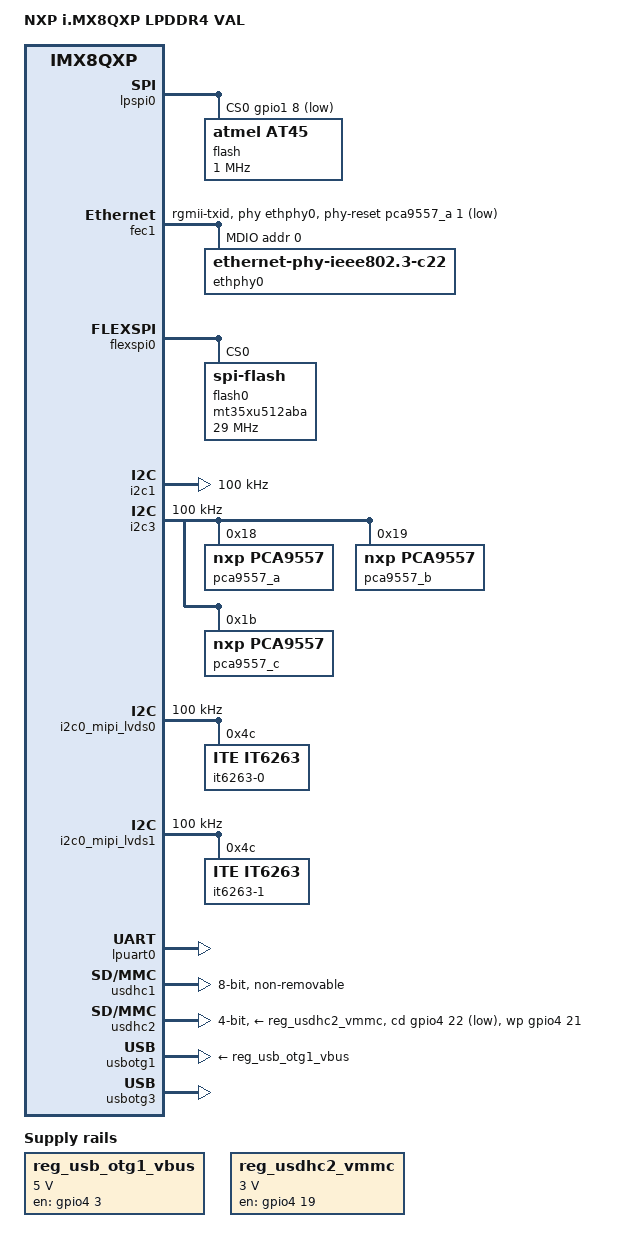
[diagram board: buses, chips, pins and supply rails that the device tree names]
// SPDX-License-Identifier: GPL-2.0+
/*
 * Copyright 2017-2019 NXP
 */

/dts-v1/;

#include "fsl-imx8qxp.dtsi"

/ {
	model = "NXP i.MX8QXP LPDDR4 VAL";
	compatible = "fsl,imx8qxp-lpddr4-val", "fsl,imx8qxp";

	aliases {
		gpio8 = &pca9557_a;
		gpio9 = &pca9557_b;
		gpio10 = &pca9557_c;
	};

	chosen {
		bootargs = "console=ttyLP0,115200 earlycon";
		stdout-path = &lpuart0;
	};

	regulators {
		compatible = "simple-bus";
		#address-cells = <1>;
		#size-cells = <0>;

		reg_usb_otg1_vbus: regulator@0 {
			compatible = "regulator-fixed";
			reg = <0>;
			regulator-name = "usb_otg1_vbus";
			regulator-min-microvolt = <5000000>;
			regulator-max-microvolt = <5000000>;
			gpio = <&gpio4 3 GPIO_ACTIVE_HIGH>;
			enable-active-high;
		};

		reg_usdhc2_vmmc: usdhc2_vmmc {
			compatible = "regulator-fixed";
			regulator-name = "SD1_SPWR";
			regulator-min-microvolt = <3000000>;
			regulator-max-microvolt = <3000000>;
			gpio = <&gpio4 19 GPIO_ACTIVE_HIGH>;
			enable-active-high;
			startup-delay-us = <300>;
			off-on-delay-us = <5000>;
		};
	};
};

&iomuxc {
	pinctrl-names = "default";
	pinctrl-0 = <&pinctrl_hog_1>;

	imx8qxp-val {
		pinctrl_hog_1: hoggrp-1 {
			fsl,pins = <
				SC_P_USB_SS3_TC0_LSIO_GPIO4_IO03	0x06000048
				SC_P_COMP_CTL_GPIO_1V8_3V3_GPIORHB_PAD	0x000514a0
			>;
		};

		pinctrl_fec1: fec1grp {
			fsl,pins = <
				SC_P_COMP_CTL_GPIO_1V8_3V3_ENET_ENETB0_PAD	0x000014a0
				SC_P_COMP_CTL_GPIO_1V8_3V3_ENET_ENETB1_PAD	0x000014a0
				SC_P_ENET0_MDC_CONN_ENET0_MDC			0x06000020
				SC_P_ENET0_MDIO_CONN_ENET0_MDIO			0x06000020
				SC_P_ENET0_RGMII_TX_CTL_CONN_ENET0_RGMII_TX_CTL	0x00000060
				SC_P_ENET0_RGMII_TXC_CONN_ENET0_RGMII_TXC	0x00000060
				SC_P_ENET0_RGMII_TXD0_CONN_ENET0_RGMII_TXD0	0x00000060
				SC_P_ENET0_RGMII_TXD1_CONN_ENET0_RGMII_TXD1	0x00000060
				SC_P_ENET0_RGMII_TXD2_CONN_ENET0_RGMII_TXD2	0x00000060
				SC_P_ENET0_RGMII_TXD3_CONN_ENET0_RGMII_TXD3	0x00000060
				SC_P_ENET0_RGMII_RXC_CONN_ENET0_RGMII_RXC	0x00000060
				SC_P_ENET0_RGMII_RX_CTL_CONN_ENET0_RGMII_RX_CTL	0x00000060
				SC_P_ENET0_RGMII_RXD0_CONN_ENET0_RGMII_RXD0	0x00000060
				SC_P_ENET0_RGMII_RXD1_CONN_ENET0_RGMII_RXD1	0x00000060
				SC_P_ENET0_RGMII_RXD2_CONN_ENET0_RGMII_RXD2	0x00000060
				SC_P_ENET0_RGMII_RXD3_CONN_ENET0_RGMII_RXD3	0x00000060
			>;
		};

		pinctrl_fec2: fec2grp {
			fsl,pins = <
				SC_P_ESAI0_SCKR_CONN_ENET1_RGMII_TX_CTL		0x00000060
				SC_P_ESAI0_FSR_CONN_ENET1_RGMII_TXC		0x00000060
				SC_P_ESAI0_TX4_RX1_CONN_ENET1_RGMII_TXD0	0x00000060
				SC_P_ESAI0_TX5_RX0_CONN_ENET1_RGMII_TXD1	0x00000060
				SC_P_ESAI0_FST_CONN_ENET1_RGMII_TXD2		0x00000060
				SC_P_ESAI0_SCKT_CONN_ENET1_RGMII_TXD3		0x00000060
				SC_P_ESAI0_TX0_CONN_ENET1_RGMII_RXC		0x00000060
				SC_P_SPDIF0_TX_CONN_ENET1_RGMII_RX_CTL		0x00000060
				SC_P_SPDIF0_RX_CONN_ENET1_RGMII_RXD0		0x00000060
				SC_P_ESAI0_TX3_RX2_CONN_ENET1_RGMII_RXD1	0x00000060
				SC_P_ESAI0_TX2_RX3_CONN_ENET1_RGMII_RXD2	0x00000060
				SC_P_ESAI0_TX1_CONN_ENET1_RGMII_RXD3		0x00000060
			>;
		};

		pinctrl_lpi2c1: lpi1cgrp {
			fsl,pins = <
				SC_P_USB_SS3_TC1_ADMA_I2C1_SCL	0x06000021
				SC_P_USB_SS3_TC3_ADMA_I2C1_SDA	0x06000021
			>;
		};

		pinctrl_lpi2c3: lpi2cgrp {
			fsl,pins = <
				SC_P_SPI3_CS1_ADMA_I2C3_SCL	0x06000020
				SC_P_MCLK_IN1_ADMA_I2C3_SDA	0x06000020
			>;
		};

		pinctrl_lpuart0: lpuart0grp {
			fsl,pins = <
				SC_P_UART0_RX_ADMA_UART0_RX	0x0600002c
				SC_P_UART0_TX_ADMA_UART0_TX	0x0600002c
			>;
		};

		pinctrl_lpspi0: lpspi0grp {
			fsl,pins = <
				SC_P_SPI0_SCK_ADMA_SPI0_SCK		0x600004c
				SC_P_SPI0_SDO_ADMA_SPI0_SDO		0x600004c
				SC_P_SPI0_SDI_ADMA_SPI0_SDI		0x600004c
			>;
		};

		pinctrl_lpspi0_cs: lpspi0cs {
			fsl,pins = <
				SC_P_SPI0_CS0_LSIO_GPIO1_IO08		0x21
			>;
		};

		pinctrl_usdhc1: usdhc1grp {
			fsl,pins = <
				SC_P_EMMC0_CLK_CONN_EMMC0_CLK		0x06000041
				SC_P_EMMC0_CMD_CONN_EMMC0_CMD		0x00000021
				SC_P_EMMC0_DATA0_CONN_EMMC0_DATA0	0x00000021
				SC_P_EMMC0_DATA1_CONN_EMMC0_DATA1	0x00000021
				SC_P_EMMC0_DATA2_CONN_EMMC0_DATA2	0x00000021
				SC_P_EMMC0_DATA3_CONN_EMMC0_DATA3	0x00000021
				SC_P_EMMC0_DATA4_CONN_EMMC0_DATA4	0x00000021
				SC_P_EMMC0_DATA5_CONN_EMMC0_DATA5	0x00000021
				SC_P_EMMC0_DATA6_CONN_EMMC0_DATA6	0x00000021
				SC_P_EMMC0_DATA7_CONN_EMMC0_DATA7	0x00000021
				SC_P_EMMC0_STROBE_CONN_EMMC0_STROBE	0x00000041
				SC_P_EMMC0_RESET_B_CONN_EMMC0_RESET_B	0x00000021
			>;
		};

		pinctrl_usdhc1_100mhz: usdhc1grp100mhz {
			fsl,pins = <
				SC_P_EMMC0_CLK_CONN_EMMC0_CLK		0x06000040
				SC_P_EMMC0_CMD_CONN_EMMC0_CMD		0x00000020
				SC_P_EMMC0_DATA0_CONN_EMMC0_DATA0	0x00000020
				SC_P_EMMC0_DATA1_CONN_EMMC0_DATA1	0x00000020
				SC_P_EMMC0_DATA2_CONN_EMMC0_DATA2	0x00000020
				SC_P_EMMC0_DATA3_CONN_EMMC0_DATA3	0x00000020
				SC_P_EMMC0_DATA4_CONN_EMMC0_DATA4	0x00000020
				SC_P_EMMC0_DATA5_CONN_EMMC0_DATA5	0x00000020
				SC_P_EMMC0_DATA6_CONN_EMMC0_DATA6	0x00000020
				SC_P_EMMC0_DATA7_CONN_EMMC0_DATA7	0x00000020
				SC_P_EMMC0_STROBE_CONN_EMMC0_STROBE	0x00000040
				SC_P_EMMC0_RESET_B_CONN_EMMC0_RESET_B	0x00000020
			>;
		};

		pinctrl_usdhc1_200mhz: usdhc1grp200mhz {
			fsl,pins = <
				SC_P_EMMC0_CLK_CONN_EMMC0_CLK		0x06000040
				SC_P_EMMC0_CMD_CONN_EMMC0_CMD		0x00000020
				SC_P_EMMC0_DATA0_CONN_EMMC0_DATA0	0x00000020
				SC_P_EMMC0_DATA1_CONN_EMMC0_DATA1	0x00000020
				SC_P_EMMC0_DATA2_CONN_EMMC0_DATA2	0x00000020
				SC_P_EMMC0_DATA3_CONN_EMMC0_DATA3	0x00000020
				SC_P_EMMC0_DATA4_CONN_EMMC0_DATA4	0x00000020
				SC_P_EMMC0_DATA5_CONN_EMMC0_DATA5	0x00000020
				SC_P_EMMC0_DATA6_CONN_EMMC0_DATA6	0x00000020
				SC_P_EMMC0_DATA7_CONN_EMMC0_DATA7	0x00000020
				SC_P_EMMC0_STROBE_CONN_EMMC0_STROBE	0x00000040
				SC_P_EMMC0_RESET_B_CONN_EMMC0_RESET_B	0x00000020
			>;
		};

		pinctrl_usdhc2_gpio: usdhc2gpiogrp {
			fsl,pins = <
				SC_P_USDHC1_RESET_B_LSIO_GPIO4_IO19	0x00000021
				SC_P_USDHC1_WP_LSIO_GPIO4_IO21		0x00000021
				SC_P_USDHC1_CD_B_LSIO_GPIO4_IO22	0x00000021
			>;
		};

		pinctrl_usdhc2: usdhc2grp {
			fsl,pins = <
				SC_P_USDHC1_CLK_CONN_USDHC1_CLK		0x06000041
				SC_P_USDHC1_CMD_CONN_USDHC1_CMD		0x00000021
				SC_P_USDHC1_DATA0_CONN_USDHC1_DATA0	0x00000021
				SC_P_USDHC1_DATA1_CONN_USDHC1_DATA1	0x00000021
				SC_P_USDHC1_DATA2_CONN_USDHC1_DATA2	0x00000021
				SC_P_USDHC1_DATA3_CONN_USDHC1_DATA3	0x00000021
				SC_P_USDHC1_VSELECT_CONN_USDHC1_VSELECT	0x00000021
			>;
		};

		pinctrl_usdhc2_100mhz: usdhc2grp100mhz {
			fsl,pins = <
				SC_P_USDHC1_CLK_CONN_USDHC1_CLK		0x06000040
				SC_P_USDHC1_CMD_CONN_USDHC1_CMD		0x00000020
				SC_P_USDHC1_DATA0_CONN_USDHC1_DATA0	0x00000020
				SC_P_USDHC1_DATA1_CONN_USDHC1_DATA1	0x00000020
				SC_P_USDHC1_DATA2_CONN_USDHC1_DATA2	0x00000020
				SC_P_USDHC1_DATA3_CONN_USDHC1_DATA3	0x00000020
				SC_P_USDHC1_VSELECT_CONN_USDHC1_VSELECT	0x00000020
			>;
		};

		pinctrl_usdhc2_200mhz: usdhc2grp200mhz {
			fsl,pins = <
				SC_P_USDHC1_CLK_CONN_USDHC1_CLK		0x06000040
				SC_P_USDHC1_CMD_CONN_USDHC1_CMD		0x00000020
				SC_P_USDHC1_DATA0_CONN_USDHC1_DATA0	0x00000020
				SC_P_USDHC1_DATA1_CONN_USDHC1_DATA1	0x00000020
				SC_P_USDHC1_DATA2_CONN_USDHC1_DATA2	0x00000020
				SC_P_USDHC1_DATA3_CONN_USDHC1_DATA3	0x00000020
				SC_P_USDHC1_VSELECT_CONN_USDHC1_VSELECT	0x00000020
			>;
		};

		pinctrl_flexspi0: flexspi0grp {
			fsl,pins = <
				SC_P_QSPI0A_DATA0_LSIO_QSPI0A_DATA0	0x06000021
				SC_P_QSPI0A_DATA1_LSIO_QSPI0A_DATA1	0x06000021
				SC_P_QSPI0A_DATA2_LSIO_QSPI0A_DATA2	0x06000021
				SC_P_QSPI0A_DATA3_LSIO_QSPI0A_DATA3	0x06000021
				SC_P_QSPI0A_DQS_LSIO_QSPI0A_DQS		0x06000021
				SC_P_QSPI0A_SS0_B_LSIO_QSPI0A_SS0_B	0x06000021
				SC_P_QSPI0A_SS1_B_LSIO_QSPI0A_SS1_B	0x06000021
				SC_P_QSPI0A_SCLK_LSIO_QSPI0A_SCLK	0x06000021
				SC_P_QSPI0B_SCLK_LSIO_QSPI0B_SCLK	0x06000021
				SC_P_QSPI0B_DATA0_LSIO_QSPI0B_DATA0	0x06000021
				SC_P_QSPI0B_DATA1_LSIO_QSPI0B_DATA1	0x06000021
				SC_P_QSPI0B_DATA2_LSIO_QSPI0B_DATA2	0x06000021
				SC_P_QSPI0B_DATA3_LSIO_QSPI0B_DATA3	0x06000021
				SC_P_QSPI0B_DQS_LSIO_QSPI0B_DQS		0x06000021
				SC_P_QSPI0B_SS0_B_LSIO_QSPI0B_SS0_B	0x06000021
				SC_P_QSPI0B_SS1_B_LSIO_QSPI0B_SS1_B	0x06000021
			>;
		};

		pinctrl_i2c0_mipi_lvds0: mipi_lvds0_i2c0_grp {
			fsl,pins = <
				SC_P_MIPI_DSI0_I2C0_SCL_MIPI_DSI0_I2C0_SCL 0xc6000020
				SC_P_MIPI_DSI0_I2C0_SDA_MIPI_DSI0_I2C0_SDA 0xc6000020
			>;
		};

		pinctrl_i2c0_mipi_lvds1: mipi_lvds1_i2c0_grp {
			fsl,pins = <
				SC_P_MIPI_DSI1_I2C0_SCL_MIPI_DSI1_I2C0_SCL 0xc6000020
				SC_P_MIPI_DSI1_I2C0_SDA_MIPI_DSI1_I2C0_SDA 0xc6000020
			>;
		};
	};
};

&gpio0 {
	status = "okay";
};

&gpio1 {
	status = "okay";
};

&gpio3 {
	status = "okay";
};

&gpio4 {
	status = "okay";
};

&lpspi0 {
	#address-cells = <1>;
	#size-cells = <0>;
	pinctrl-names = "default";
	pinctrl-0 = <&pinctrl_lpspi0 &pinctrl_lpspi0_cs>;
	cs-gpios = <&gpio1 8 GPIO_ACTIVE_LOW>, <0>, <0>, <0>;
	spi-max-frequency = <1000000>;
	status = "okay";

	flash: at45db041e@0 {
		#address-cells = <1>;
		#size-cells = <1>;
		compatible = "atmel,at45", "atmel,dataflash";
		spi-max-frequency = <1000000>;
		reg = <0>;
	};
};


&fec1 {
	pinctrl-names = "default";
	pinctrl-0 = <&pinctrl_fec1>;
	phy-mode = "rgmii-txid";
	phy-handle = <&ethphy0>;
	fsl,magic-packet;
	fsl,rgmii_rxc_dly;
	status = "okay";
	phy-reset-gpios = <&pca9557_a 1 GPIO_ACTIVE_LOW>;
	phy-reset-duration = <10>;
	phy-reset-post-delay = <150>;

	mdio {
		#address-cells = <1>;
		#size-cells = <0>;

		ethphy0: ethernet-phy@0 {
			compatible = "ethernet-phy-ieee802.3-c22";
			reg = <0>;
			at803x,eee-disabled;
			at803x,vddio-1p8v;
		};

		ethphy1: ethernet-phy@1 {
			compatible = "ethernet-phy-ieee802.3-c22";
			reg = <1>;
			at803x,eee-disabled;
			at803x,vddio-1p8v;
			status = "disabled";
		};
	};
};

&fec2 {
	pinctrl-names = "default";
	pinctrl-0 = <&pinctrl_fec2>;
	phy-mode = "rgmii-txid";
	phy-handle = <&ethphy1>;
	fsl,magic-packet;
	fsl,rgmii_rxc_dly;
	status = "disabled";
	phy-reset-gpios = <&pca9557_a 4 GPIO_ACTIVE_LOW>;
	phy-reset-duration = <10>;
	phy-reset-post-delay = <150>;
};

&flexspi0 {
	pinctrl-names = "default";
	pinctrl-0 = <&pinctrl_flexspi0>;
	status = "okay";

	flash0: mt35xu512aba@0 {
		reg = <0>;
		#address-cells = <1>;
		#size-cells = <1>;
		compatible = "spi-flash";
		spi-max-frequency = <29000000>;
		spi-nor,ddr-quad-read-dummy = <8>;
	};
};

&i2c1 {
	clock-frequency = <100000>;
	pinctrl-names = "default";
	pinctrl-0 = <&pinctrl_lpi2c1>;
	status = "okay";
};

&i2c3 {
	#address-cells = <1>;
	#size-cells = <0>;
	clock-frequency = <100000>;
	pinctrl-names = "default";
	pinctrl-0 = <&pinctrl_lpi2c3>;
	status = "okay";

	pca9557_a: gpio@18 {
		compatible = "nxp,pca9557";
		reg = <0x18>;
		gpio-controller;
		#gpio-cells = <2>;
	};

	pca9557_b: gpio@19 {
		compatible = "nxp,pca9557";
		reg = <0x19>;
		gpio-controller;
		#gpio-cells = <2>;
	};

	pca9557_c: gpio@1b {
		compatible = "nxp,pca9557";
		reg = <0x1b>;
		gpio-controller;
		#gpio-cells = <2>;
	};
};

&i2c0_mipi_lvds0 {
	#address-cells = <1>;
	#size-cells = <0>;
	pinctrl-names = "default";
	pinctrl-0 = <&pinctrl_i2c0_mipi_lvds0>;
	clock-frequency = <100000>;
	status = "okay";

	it6263-0@4c {
		compatible = "ITE,it6263";
		reg = <0x4c>;
	};
};

&i2c0_mipi_lvds1 {
	#address-cells = <1>;
	#size-cells = <0>;
	pinctrl-names = "default";
	pinctrl-0 = <&pinctrl_i2c0_mipi_lvds1>;
	clock-frequency = <100000>;
	status = "okay";

	it6263-1@4c {
		compatible = "ITE,it6263";
		reg = <0x4c>;
	};
};

&lpuart0 {
	pinctrl-names = "default";
	pinctrl-0 = <&pinctrl_lpuart0>;
	status = "okay";
};

&usdhc1 {
	pinctrl-names = "default", "state_100mhz", "state_200mhz";
	pinctrl-0 = <&pinctrl_usdhc1>;
	pinctrl-1 = <&pinctrl_usdhc1_100mhz>;
	pinctrl-2 = <&pinctrl_usdhc1_200mhz>;
	bus-width = <8>;
	non-removable;
	status = "okay";
};

&usdhc2 {
	pinctrl-names = "default", "state_100mhz", "state_200mhz";
	pinctrl-0 = <&pinctrl_usdhc2>, <&pinctrl_usdhc2_gpio>;
	pinctrl-1 = <&pinctrl_usdhc2_100mhz>, <&pinctrl_usdhc2_gpio>;
	pinctrl-2 = <&pinctrl_usdhc2_200mhz>, <&pinctrl_usdhc2_gpio>;
	bus-width = <4>;
	cd-gpios = <&gpio4 22 GPIO_ACTIVE_LOW>;
	wp-gpios = <&gpio4 21 GPIO_ACTIVE_HIGH>;
	vmmc-supply = <&reg_usdhc2_vmmc>;
	status = "okay";
};

&usbotg1 {
	vbus-supply = <&reg_usb_otg1_vbus>;
	srp-disable;
	hnp-disable;
	adp-disable;
	disable-over-current;
	status = "okay";
};

&usbotg3 {
	status = "okay";
};
